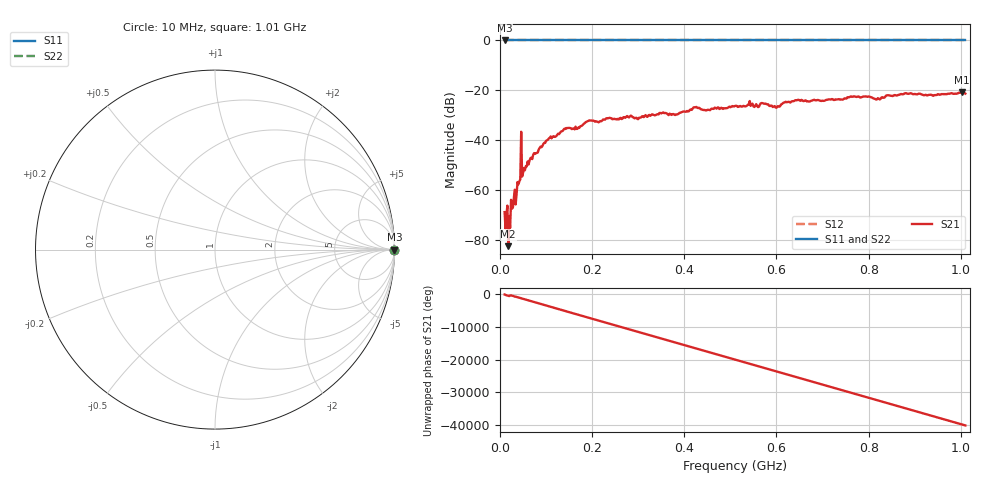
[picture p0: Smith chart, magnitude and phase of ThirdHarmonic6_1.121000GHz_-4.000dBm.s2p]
! 8/16/2025 10:46:52 AM
! C:\ANRITSUVNA\TEMP\TEMP.S2P
! CHANNEL.1
! TR.MEASUREMENT
! RAW.DATA
! RF.CORRECTION.OFF
! AVERAGING.OFF
! IF.BANDWIDTH: 5KHZ
! SWEEPTYPE:  FREQ.SWEEP(Linear)
! Reference Plane Port Info
! PORT:  PORT1  PORT2
! DISTANCE:  0  m  0  m
! TIME:  0  s  0  s
! PHASE.OFFSET:  0  deg.  0  deg.
! LOSS:  0  dB  0  dB
! REF.LOSS:  0  dB  0  dB
! REF.FREQ:  0  Hz  0  Hz
! Power Info
! POWER:  -20  dBm  -20  dBm
! EFF.POWER:  -20  dBm  -20  dBm
! SOURCE.ATTEN:  0  dB  0  dB
! TEST.ATTEN:  0  dB  0  dB
# GHZ S RI R 50.0
! FREQ.GHZ  S11RE  S11IM  S21RE  S21IM  S12RE  S12IM  S22RE  S22IM
!; PortSelection: Port_12
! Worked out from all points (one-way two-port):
!   501 points, 10 MHz to 1.01 GHz, reference 50 ohm
!   highest |S21| = -20.83 dB at 1.002 GHz (marker M1); lowest = -82.6 dB at 18 MHz (marker M2)
!   lowest |S11| = 0.0 dB at 10 MHz (marker M3)
!   |S11| at or under -10 dB: nowhere
!   |S22| runs from 0.0 to 0.0 dB; largest |S21 - S12| = 1.1
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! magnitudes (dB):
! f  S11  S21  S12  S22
! 10 MHz  0.0  -69.0  0.0  0.0
! 18 MHz  0.0  -82.6  0.0  0.0
! 22 MHz  0.0  -75.3  0.0  0.0
! 28 MHz  0.0  -67.1  0.0  0.0
! 30 MHz  0.0  -63.4  0.0  0.0
! 38 MHz  0.0  -56.9  0.0  0.0
! 40 MHz  0.0  -57.8  0.0  0.0
! 42 MHz  0.0  -56.6  0.0  0.0
! 50 MHz  0.0  -53.3  0.0  0.0
! 52 MHz  0.0  -51.2  0.0  0.0
! 70 MHz  0.0  -47.7  0.0  0.0
! 106 MHz  0.0  -39.4  0.0  0.0
! 178 MHz  0.0  -34.2  0.0  0.0
! 194 MHz  0.0  -32.1  0.0  0.0
! 344 MHz  0.0  -29.7  0.0  0.0
! 510 MHz  0.0  -26.3  0.0  0.0
! 570 MHz  0.0  -25.2  0.0  0.0
! 602 MHz  0.0  -26.5  0.0  0.0
! 678 MHz  0.0  -24.1  0.0  0.0
! 844 MHz  0.0  -22.0  0.0  0.0
! 1.002 GHz  0.0  -20.8  0.0  0.0
! 1.01 GHz  0.0  -21.3  0.0  0.0
